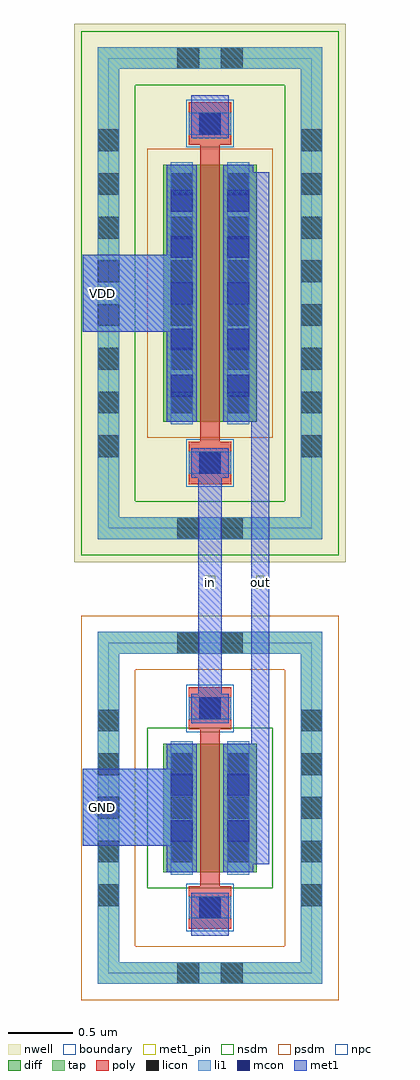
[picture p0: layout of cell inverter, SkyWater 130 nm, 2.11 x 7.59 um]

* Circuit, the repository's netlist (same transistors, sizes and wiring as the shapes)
* NGSPICE file created from inverter.ext - technology: sky130A

.subckt sky130_fd_pr__nfet_01v8_34VMYE B D S G
X0 S G D B sky130_fd_pr__nfet_01v8 ad=0.29 pd=2.58 as=0.29 ps=2.58 w=1 l=0.15
.ends

.subckt sky130_fd_pr__pfet_01v8_VJT448 B D S G
X0 S G D B sky130_fd_pr__pfet_01v8 ad=0.58 pd=4.58 as=0.58 ps=4.58 w=2 l=0.15
.ends

.subckt inverter in out VDD GND
Xnmos1 GND GND out in sky130_fd_pr__nfet_01v8_34VMYE
Xpmos1 VDD VDD out in sky130_fd_pr__pfet_01v8_VJT448
.ends

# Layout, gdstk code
import gdstk
lib = gdstk.Library(unit=1e-6, precision=1e-09)
def R(c, l, rs):  # rectangles x0, y0, x1, y1
    for r in rs: c.add(gdstk.rectangle(r[:2], r[2:], *l))
def A(c, l, x, y, w, h, nx, ny, dx, dy):  # array of equal rectangles
    R(c, l, [(x+i*dx, y+j*dy, x+i*dx+w, y+j*dy+h) for i in range(nx) for j in range(ny)])
nwell = (64, 20)
diff = (65, 20)
tap = (65, 44)
poly = (66, 20)
licon = (66, 44)
li1 = (67, 20)
mcon = (67, 44)
met1_pin = (68, 16)
met1 = (68, 20)
nsdm = (93, 44)
psdm = (94, 20)
npc = (95, 20)
boundary = (235, 4)

sky130_fd_pr__pfet_01v8_ = lib.new_cell('sky130_fd_pr__pfet_01v8_VJT448')
R(sky130_fd_pr__pfet_01v8_, nwell, [(-1.055,-2.095,1.055,2.095)])
R(sky130_fd_pr__pfet_01v8_, diff, [(-0.365,-1,0.365,1)])
R(sky130_fd_pr__pfet_01v8_, tap, [(-0.875,-1.915,0.875,-1.745), (-0.875,-1.745,-0.705,1.745), (0.705,-1.745,0.875,1.745), (-0.875,1.745,0.875,1.915)])
R(sky130_fd_pr__pfet_01v8_, poly, [(-0.165,-1.485,0.165,-1.155), (-0.075,-1.155,0.075,1.155), (-0.165,1.155,0.165,1.485)])
A(sky130_fd_pr__pfet_01v8_, licon, -0.875, -1.275, 0.17, 0.17, 1, 8, 0, 0.34)
A(sky130_fd_pr__pfet_01v8_, licon, 0.705, -1.275, 0.17, 0.17, 1, 8, 0, 0.34)
A(sky130_fd_pr__pfet_01v8_, licon, -0.305, -0.935, 0.17, 0.17, 1, 6, 0, 0.34)
A(sky130_fd_pr__pfet_01v8_, licon, 0.135, -0.935, 0.17, 0.17, 1, 6, 0, 0.34)
R(sky130_fd_pr__pfet_01v8_, licon, [(-0.255,-1.915,-0.085,-1.745), (0.085,-1.915,0.255,-1.745), (-0.085,-1.405,0.085,-1.235), (-0.085,1.235,0.085,1.405), (-0.255,1.745,-0.085,1.915), (0.085,1.745,0.255,1.915)])
R(sky130_fd_pr__pfet_01v8_, li1, [(-0.875,-1.915,0.875,-1.745), (-0.875,-1.745,-0.705,1.745), (0.705,-1.745,0.875,1.745), (-0.165,-1.405,0.165,-1.235), (-0.305,-1.02,-0.135,1.02), (0.135,-1.02,0.305,1.02), (-0.165,1.235,0.165,1.405), (-0.875,1.745,0.875,1.915)])
A(sky130_fd_pr__pfet_01v8_, mcon, -0.305, -0.805, 0.17, 0.17, 1, 5, 0, 0.36)
A(sky130_fd_pr__pfet_01v8_, mcon, 0.135, -0.805, 0.17, 0.17, 1, 5, 0, 0.36)
R(sky130_fd_pr__pfet_01v8_, mcon, [(-0.085,-1.405,0.085,-1.235), (-0.085,1.235,0.085,1.405)])
R(sky130_fd_pr__pfet_01v8_, met1, [(-0.145,-1.435,0.145,-1.205), (-0.335,-1,-0.105,1), (0.105,-1,0.335,1), (-0.145,1.205,0.145,1.435)])
R(sky130_fd_pr__pfet_01v8_, nsdm, [(-1,-2.04,1,-1.62), (-1,-1.62,-0.58,1.62), (0.58,-1.62,1,1.62), (-1,1.62,1,2.04)])
R(sky130_fd_pr__pfet_01v8_, psdm, [(-0.49,-1.125,0.49,1.125)])
R(sky130_fd_pr__pfet_01v8_, npc, [(-0.185,-1.505,0.185,-1.135), (-0.185,1.135,0.185,1.505)])
R(sky130_fd_pr__pfet_01v8_, boundary, [(-0.79,-1.83,0.79,1.83)])
sky130_fd_pr__pfet_01v8_.add(gdstk.Label('B', (0,-1.83), layer=67, texttype=5))
sky130_fd_pr__pfet_01v8_.add(gdstk.Label('D', (-0.22,0), layer=67, texttype=5))
sky130_fd_pr__pfet_01v8_.add(gdstk.Label('S', (0.22,0), layer=67, texttype=5))
sky130_fd_pr__pfet_01v8_.add(gdstk.Label('G', (0,1.32), layer=67, texttype=5))

sky130_fd_pr__nfet_01v8_ = lib.new_cell('sky130_fd_pr__nfet_01v8_34VMYE')
R(sky130_fd_pr__nfet_01v8_, diff, [(-0.365,-0.5,0.365,0.5)])
R(sky130_fd_pr__nfet_01v8_, tap, [(-0.875,-1.37,0.875,-1.2), (-0.875,-1.2,-0.705,1.2), (0.705,-1.2,0.875,1.2), (-0.875,1.2,0.875,1.37)])
R(sky130_fd_pr__nfet_01v8_, poly, [(-0.165,-0.94,0.165,-0.61), (-0.075,-0.61,0.075,0.61), (-0.165,0.61,0.165,0.94)])
A(sky130_fd_pr__nfet_01v8_, licon, -0.875, -0.765, 0.17, 0.17, 1, 5, 0, 0.34)
A(sky130_fd_pr__nfet_01v8_, licon, 0.705, -0.765, 0.17, 0.17, 1, 5, 0, 0.34)
A(sky130_fd_pr__nfet_01v8_, licon, -0.305, -0.425, 0.17, 0.17, 1, 3, 0, 0.34)
A(sky130_fd_pr__nfet_01v8_, licon, 0.135, -0.425, 0.17, 0.17, 1, 3, 0, 0.34)
R(sky130_fd_pr__nfet_01v8_, licon, [(-0.255,-1.37,-0.085,-1.2), (0.085,-1.37,0.255,-1.2), (-0.085,-0.86,0.085,-0.69), (-0.085,0.69,0.085,0.86), (-0.255,1.2,-0.085,1.37), (0.085,1.2,0.255,1.37)])
R(sky130_fd_pr__nfet_01v8_, li1, [(-0.875,-1.37,0.875,-1.2), (-0.875,-1.2,-0.705,1.2), (0.705,-1.2,0.875,1.2), (-0.165,-0.86,0.165,-0.69), (-0.305,-0.52,-0.135,0.52), (0.135,-0.52,0.305,0.52), (-0.165,0.69,0.165,0.86), (-0.875,1.2,0.875,1.37)])
R(sky130_fd_pr__nfet_01v8_, mcon, [(-0.085,-0.86,0.085,-0.69), (-0.305,-0.265,-0.135,-0.095), (0.135,-0.265,0.305,-0.095), (-0.305,0.095,-0.135,0.265), (0.135,0.095,0.305,0.265), (-0.085,0.69,0.085,0.86)])
R(sky130_fd_pr__nfet_01v8_, met1, [(-0.145,-0.89,0.145,-0.66), (-0.335,-0.5,-0.105,0.5), (0.105,-0.5,0.335,0.5), (-0.145,0.66,0.145,0.89)])
R(sky130_fd_pr__nfet_01v8_, nsdm, [(-0.49,-0.625,0.49,0.625)])
R(sky130_fd_pr__nfet_01v8_, psdm, [(-1,-1.495,1,-1.075), (-1,-1.075,-0.58,1.075), (0.58,-1.075,1,1.075), (-1,1.075,1,1.495)])
R(sky130_fd_pr__nfet_01v8_, npc, [(-0.185,-0.96,0.185,-0.59), (-0.185,0.59,0.185,0.96)])
R(sky130_fd_pr__nfet_01v8_, boundary, [(-0.79,-1.285,0.79,1.285)])
sky130_fd_pr__nfet_01v8_.add(gdstk.Label('B', (0,-1.285), layer=67, texttype=5))
sky130_fd_pr__nfet_01v8_.add(gdstk.Label('D', (-0.22,0), layer=67, texttype=5))
sky130_fd_pr__nfet_01v8_.add(gdstk.Label('S', (0.22,0), layer=67, texttype=5))
sky130_fd_pr__nfet_01v8_.add(gdstk.Label('G', (0,0.775), layer=67, texttype=5))

inverter = lib.new_cell('inverter')
R(inverter, li1, [(-0.2,1,0.655,1.6), (-0.2,5,0.655,5.6)])
R(inverter, met1_pin, [(-0.1,1.25,0,1.35), (0.75,3,0.83,3.1), (1.15,3,1.21,3.1), (-0.1,5.25,0,5.35)])
R(inverter, met1, [(0.645,0.3,0.935,0.635), (0.925,0.855,1.25,1.735), (-0.2,1,0.655,1.6), (1.11,1.735,1.25,4.36), (0.7,2.05,0.88,4.05), (0.925,4.36,1.25,6.24), (-0.2,5,0.655,5.6), (0.645,6.505,0.935,6.84)])
inverter.add(gdstk.Reference(sky130_fd_pr__pfet_01v8_, (0.79,5.3)))
inverter.add(gdstk.Reference(sky130_fd_pr__nfet_01v8_, (0.79,1.295)))
inverter.add(gdstk.Label('in', (0.79,3.05), layer=68, texttype=5))
inverter.add(gdstk.Label('out', (1.18,3.05), layer=68, texttype=5))
inverter.add(gdstk.Label('VDD', (-0.05,5.3), layer=68, texttype=5))
inverter.add(gdstk.Label('GND', (-0.05,1.3), layer=68, texttype=5))

lib.write_gds('inverter.gds')
